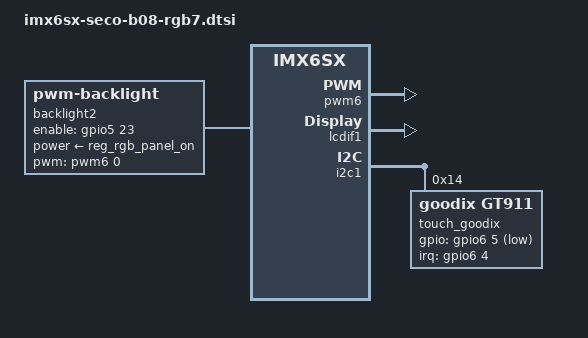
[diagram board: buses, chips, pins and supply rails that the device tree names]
/*
* Author: Giuseppe Pagano <giuseppe.pagano@seco.com>
*
* This program is free software; you can redistribute it and/or modify
* it under the terms of the GNU General Public License version 2 as
* published by the Free Software Foundation.
*
*
*/

#include "imx6sx-seco-b08.dtsi"

/ {
	backlight2 {
                compatible = "pwm-backlight";
                pwms = <&pwm6 0 5000000>;
                brightness-levels = <0 4 8 16 32 64 128 200 255>;
                default-brightness-level = <7>;
                fb-names = "mxs-lcdif1";
                default-on;
                power-supply = <&reg_rgb_panel_on>;
                enable-gpios = <&gpio5 23 GPIO_ACTIVE_HIGH>;
                status = "okay";
	};
};

&pwm6 {
        pinctrl-names = "default";
        pinctrl-0 = <&pinctrl_pwm6>;
        status = "okay";
};

&lcdif1 {
        pinctrl-names = "default";
        pinctrl-0 = <&pinctrl_lcdif_dat_0
        &pinctrl_rbg_lcd
        &pinctrl_lcdif_ctrl_0>;
        lcd-supply = <&vgen5_reg>;
        display = <&display0>;
        status = "okay";

        display0: display {
                bits-per-pixel = <32>;
                bus-width = <24>;

                display-timings {
                        native-mode = <&timing0>;
                        timing0: timing0 {
                                clock-frequency = <38000000>;
                                hactive = <800>;
                                vactive = <480>;
                                hback-porch = <56>;
                                hfront-porch = <50>;
                                vback-porch = <20>;
                                vfront-porch = <53>;
                                hsync-len = <180>;
                                vsync-len = <30>;

                                hsync-active = <0>;
                                vsync-active = <1>;
                                de-active = <1>;
                                pixelclk-active = <0>;
                        };
                };
        };
};

&i2c1 {
        touch_goodix: gt911@14 {
                compatible = "goodix,gt911";
                reg = <0x14>;
 		pinctrl-names = "default";
 		pinctrl-0 = <&pinctrl_gt911>;
                interrupt-parent = <&gpio6>;
 		interrupts = <4 IRQ_TYPE_LEVEL_LOW>;
		gpios = <&gpio6 5 GPIO_ACTIVE_LOW>;
 		interrupt-gpio = <164>;
 		reset-gpio = <165>;
		ts-max-width = <800>;
		ts-max-height = <480>;
		ts-max-finger = <1>;
        };
};

